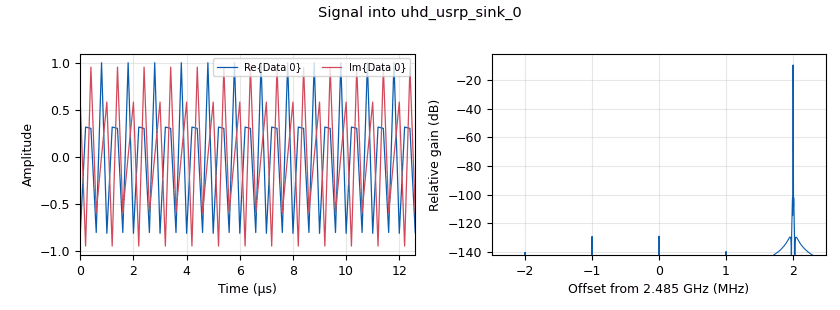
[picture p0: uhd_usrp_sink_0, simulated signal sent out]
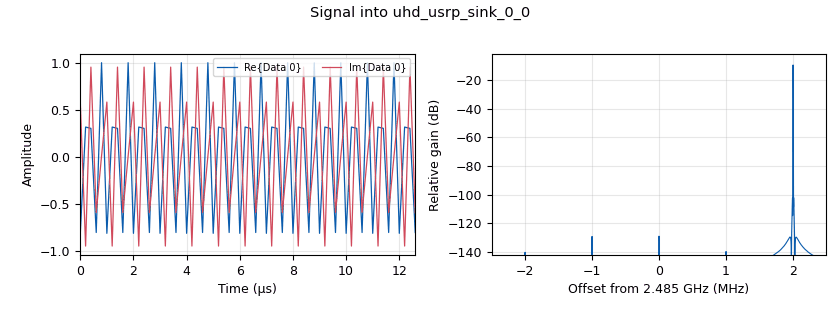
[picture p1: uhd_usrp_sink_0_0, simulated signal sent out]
options:
  parameters:
    generate_options: qt_gui
    id: mobloc_usrp_sync_tx
    output_language: python
    title: Massive MIMO Sync TX
  states: {}

blocks:
- name: freq
  id: variable
  parameters:
    value: 2485e6
  states: {}
- name: gain
  id: variable
  parameters:
    value: '0'
  states: {}
- name: samp_rate
  id: variable
  parameters:
    value: '5000000'
  states: {}
- name: analog_sig_source_x_0
  id: analog_sig_source_x
  parameters:
    amp: '1'
    freq: '2000000'
    offset: '0'
    phase: '0'
    samp_rate: samp_rate
    type: complex
    waveform: analog.GR_SIN_WAVE
  states: {}
- name: uhd_usrp_sink_0
  id: uhd_usrp_sink
  parameters:
    ant0: TX/RX
    center_freq0: freq
    clock_source0: external
    dev_addr: '"addr=10.10.23.4"'
    dev_args: '"dboard_clock_rate=20e6"'
    gain0: gain
    len_tag_name: ''
    norm_gain0: 'False'
    samp_rate: samp_rate
    sd_spec0: A:0
    sync: sync
    time_source0: external
    type: fc32
  states: {}
- name: uhd_usrp_sink_0_0
  id: uhd_usrp_sink
  parameters:
    ant0: TX/RX
    center_freq0: freq
    clock_source0: external
    dev_addr: '"addr=10.10.23.14"'
    dev_args: '"dboard_clock_rate=20e6"'
    gain0: gain
    len_tag_name: ''
    norm_gain0: 'False'
    samp_rate: samp_rate
    sd_spec0: A:0
    sync: sync
    time_source0: external
    type: fc32
  states: {}
- name: uhd_usrp_sink_0_0_0
  id: uhd_usrp_sink
  parameters:
    ant0: TX/RX
    center_freq0: freq
    clock_source0: external
    dev_addr: '"addr=10.10.24.4"'
    dev_args: '"dboard_clock_rate=20e6"'
    gain0: gain
    len_tag_name: ''
    norm_gain0: 'False'
    samp_rate: samp_rate
    sd_spec0: A:0
    sync: sync
    time_source0: external
    type: fc32
  states: {}
- name: uhd_usrp_sink_0_0_0_0
  id: uhd_usrp_sink
  parameters:
    ant0: TX/RX
    center_freq0: freq
    clock_source0: external
    dev_addr: '"addr=10.10.24.14"'
    dev_args: '"dboard_clock_rate=20e6"'
    gain0: gain
    len_tag_name: ''
    norm_gain0: 'False'
    samp_rate: samp_rate
    sd_spec0: A:0
    sync: sync
    time_source0: external
    type: fc32
  states: {}

connections:
- [analog_sig_source_x_0, '0', uhd_usrp_sink_0, '0']
- [analog_sig_source_x_0, '0', uhd_usrp_sink_0_0, '0']
- [analog_sig_source_x_0, '0', uhd_usrp_sink_0_0_0, '0']
- [analog_sig_source_x_0, '0', uhd_usrp_sink_0_0_0_0, '0']

metadata:
  file_format: 1
